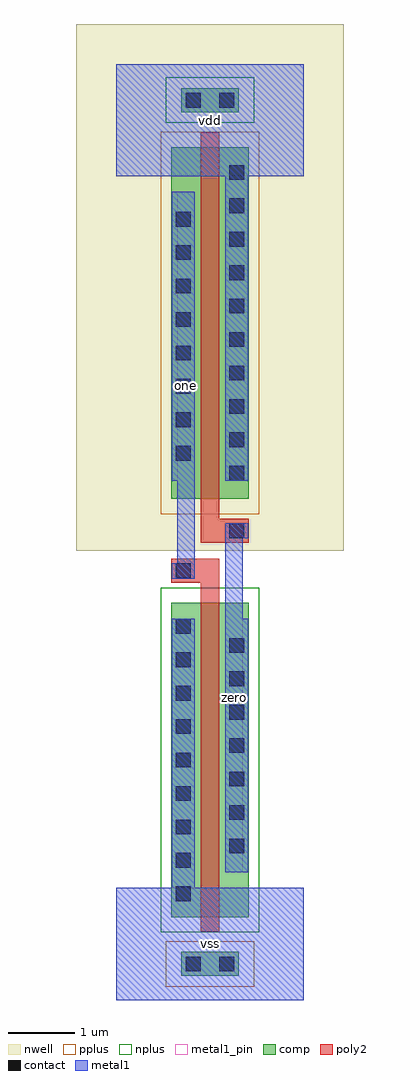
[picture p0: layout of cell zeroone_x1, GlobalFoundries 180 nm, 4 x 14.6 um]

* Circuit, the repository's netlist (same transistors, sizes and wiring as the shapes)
* zeroone_x1
.subckt zeroone_x1 vdd vss zero one
Mn vss one zero vss nfet_03v3 l=0.28um w=4.7um
Mp one zero vdd vdd pfet_03v3 l=0.28um w=5.26um
.ends zeroone_x1

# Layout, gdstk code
import gdstk
lib = gdstk.Library(unit=1e-6, precision=1e-09)
def R(c, l, rs):  # rectangles x0, y0, x1, y1
    for r in rs: c.add(gdstk.rectangle(r[:2], r[2:], *l))
def A(c, l, x, y, w, h, nx, ny, dx, dy):  # array of equal rectangles
    R(c, l, [(x+i*dx, y+j*dy, x+i*dx+w, y+j*dy+h) for i in range(nx) for j in range(ny)])
def P(c, l, *ps):  # polygons
    for p in ps: c.add(gdstk.Polygon(p, *l))
nwell = (21, 0)
comp = (22, 0)
poly2 = (30, 0)
pplus = (31, 0)
nplus = (32, 0)
contact = (33, 0)
metal1 = (34, 0)
metal1_pin = (34, 10)

zeroone_x1 = lib.new_cell('zeroone_x1')
R(zeroone_x1, nwell, [(-0.6,6.72,3.4,14.6)])
R(zeroone_x1, comp, [(0.97,0.36,1.83,0.72), (0.82,1.24,1.98,5.94), (0.82,7.5,1.98,12.76), (0.97,13.28,1.83,13.64)])
P(zeroone_x1, poly2, [(1.26,6.84),(1.26,12.98),(1.54,12.98),(1.54,7.2),(1.98,7.2),(1.98,6.84)],
  [(1.26,1.02),(1.26,6.24),(0.82,6.24),(0.82,6.6),(1.54,6.6),(1.54,1.02)])
R(zeroone_x1, pplus, [(0.74,0.2,2.06,0.88), (0.66,7.27,2.14,12.99)])
R(zeroone_x1, nplus, [(0.66,1.01,2.14,6.17), (0.74,13.12,2.06,13.8)])
A(zeroone_x1, contact, 0.89, 1.48, 0.22, 0.22, 1, 9, 0, 0.5)
A(zeroone_x1, contact, 1.69, 2.195, 0.22, 0.22, 1, 7, 0, 0.5)
A(zeroone_x1, contact, 1.69, 7.77, 0.22, 0.22, 1, 10, 0, 0.5)
A(zeroone_x1, contact, 0.89, 8.07, 0.22, 0.22, 1, 8, 0, 0.5)
R(zeroone_x1, contact, [(1.04,0.43,1.26,0.65), (1.54,0.43,1.76,0.65), (0.89,6.31,1.11,6.53), (1.69,6.91,1.91,7.13), (1.04,13.35,1.26,13.57), (1.54,13.35,1.76,13.57)])
P(zeroone_x1, metal1, [(1.63,7.765),(1.63,12.32),(0,12.32),(0,14),(2.8,14),(2.8,12.32),(1.97,12.32),(1.97,7.765)],
  [(0,0),(0,1.68),(0.83,1.68),(0.83,5.705),(1.17,5.705),(1.17,1.68),(2.8,1.68),(2.8,0)],
  [(1.63,1.91),(1.63,7.135),(1.97,7.135),(1.97,6.905),(1.89,6.905),(1.89,5.7),(1.97,5.7),(1.97,1.91)],
  [(0.83,6.305),(0.83,6.535),(0.91,6.535),(0.91,7.77),(0.83,7.77),(0.83,12.09),(1.17,12.09),(1.17,6.305)])
R(zeroone_x1, metal1_pin, [(0,0,2.8,1.68), (1.63,1.91,1.89,7.135), (0.91,6.305,1.17,12.09), (0,12.32,2.8,14)])
zeroone_x1.add(gdstk.Label('vdd', (1.4,13.16), layer=34, texttype=10))
zeroone_x1.add(gdstk.Label('vss', (1.4,0.84), layer=34, texttype=10))
zeroone_x1.add(gdstk.Label('zero', (1.76,4.523), layer=34, texttype=10))
zeroone_x1.add(gdstk.Label('one', (1.04,9.198), layer=34, texttype=10))

lib.write_gds('zeroone_x1.gds')
